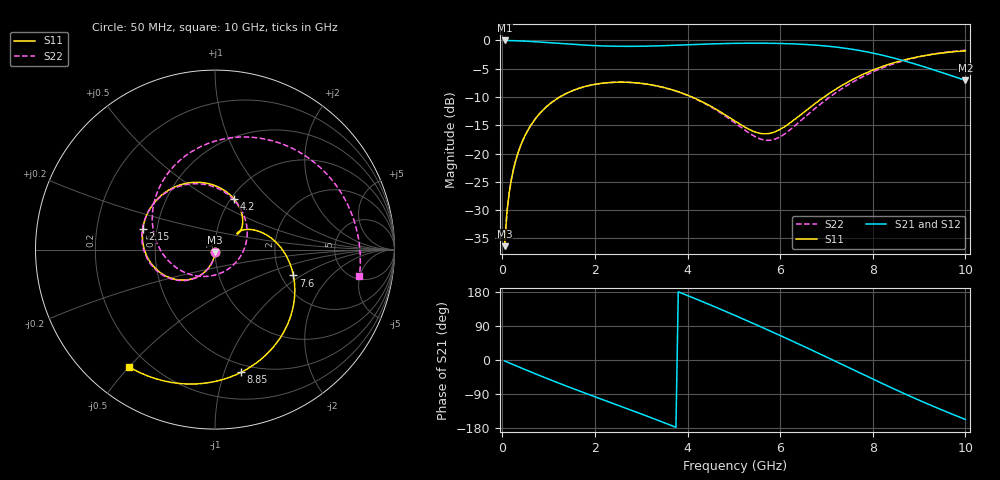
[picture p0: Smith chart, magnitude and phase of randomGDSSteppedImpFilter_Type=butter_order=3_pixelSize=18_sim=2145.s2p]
! freq	dB(S11)	phase(S11)	dB(S12)	phase(S12)
!  dB(S21)	phase(S21)	dB(S22)	phase(S22)
!S-par simulation data
#  GHz  S  DB  R 50
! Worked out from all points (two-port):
!   200 points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, 50 MHz to 10 GHz, reference 50 ohm
!   highest |S21| = 0.00 dB at 50 MHz (marker M1); lowest = -7.1 dB at 10 GHz (marker M2)
!   |S21| within 3 dB of the highest: start of sweep to 8.403 GHz
!   lowest |S11| = -36.4 dB at 50 MHz (marker M3), VSWR 1.03, Z = 49.9 - j1.52 ohm
!   |S11| at or under -10 dB: start of sweep to 1.239 GHz; 4.096 GHz to 6.948 GHz (2.853 GHz wide, 51.7 % of centre)
!   |S22| runs from -36.4 to -1.7 dB; largest |S21 - S12| = 0
!   S11 on the Smith chart (normalised r, x): 50 MHz: 1.00, -0.03; 2.15 GHz: 0.42, +0.11; 4.2 GHz: 1.03, +0.64; 7.6 GHz: 2.33, -0.85; 8.85 GHz: 0.43, -1.14; 10 GHz: 0.13, -0.50
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0.05  -36.37 -92.7  -0.00 -2.6  -0.00 -2.6  -36.37 -92.7
0.1  -30.36 -95.4  -0.01 -5.2  -0.01 -5.2  -30.36 -95.3
0.2  -24.39 -100.8  -0.03 -10.4  -0.03 -10.4  -24.39 -100.6
0.5  -16.68 -116.4  -0.13 -25.6  -0.13 -25.6  -16.68 -115.9
1.1  -10.75 -146.5  -0.45 -55.3  -0.45 -55.3  -10.75 -145.3
1.75  -8.23 -177.3  -0.81 -85.7  -0.81 -85.7  -8.23 -175.3
2.15  -7.58 164.3  -0.97 -103.8  -0.97 -103.8  -7.58 166.8
2.75  -7.41 136.9  -1.04 -130.9  -1.04 -130.9  -7.42 140.3
3.4  -8.15 106.8  -0.95 -160.9  -0.95 -160.9  -8.16 110.6
4.2  -10.38 69.8  -0.70 160.2  -0.70 160.2  -10.44 70.8
5.05  -14.38 38.8  -0.51 116.3  -0.51 116.3  -14.74 16.3
5.45  -16.16 34.4  -0.48 94.8  -0.48 94.8  -16.96 -21.6
5.85  -16.27 36.9  -0.51 73.0  -0.51 73.0  -17.54 -70.3
6.25  -14.36 35.0  -0.60 50.7  -0.60 50.7  -15.56 -116.2
6.7  -11.50 22.3  -0.79 25.2  -0.79 25.2  -12.39 -156.0
7.15  -8.89 3.3  -1.12 -0.9  -1.12 -0.9  -9.54 171.0
7.6  -6.75 -18.2  -1.62 -27.1  -1.62 -27.1  -7.22 140.3
8  -5.25 -37.8  -2.23 -50.3  -2.23 -50.3  -5.57 113.8
8.35  -4.21 -54.7  -2.89 -70.3  -2.89 -70.3  -4.41 90.9
8.85  -3.11 -77.9  -4.01 -98.0  -4.01 -98.0  -3.18 59.0
9.45  -2.27 -104.0  -5.56 -129.6  -5.56 -129.6  -2.22 22.2
10  -1.83 -126.3  -7.05 -156.9  -7.05 -156.9  -1.74 -10.5
